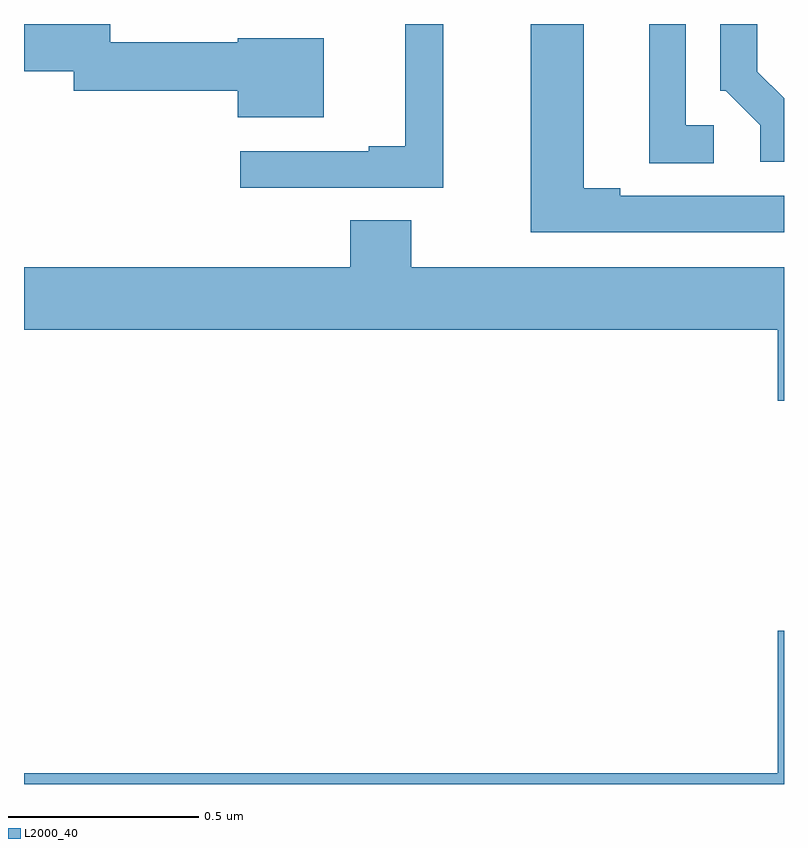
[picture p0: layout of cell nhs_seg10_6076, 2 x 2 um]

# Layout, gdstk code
import gdstk
lib = gdstk.Library(unit=1e-6, precision=1e-09)
def P(c, l, *ps):  # polygons
    for p in ps: c.add(gdstk.Polygon(p, *l))
L2000_40 = (2000, 40)

nhs_seg10_6076 = lib.new_cell('nhs_seg10_6076')
P(nhs_seg10_6076, L2000_40, [(188.103,1254.5),(188.003,1254.5),(188.003,1254.178),(187.907,1254.178),(187.907,1254.165),(187.569,1254.165),(187.569,1254.069),(188.103,1254.069)],
  [(188.815,1254.234),(188.742,1254.234),(188.742,1254.5),(188.645,1254.5),(188.645,1254.133),(188.815,1254.133)],
  [(189,1254.048),(188.569,1254.048),(188.569,1254.068),(188.473,1254.068),(188.473,1254.5),(188.333,1254.5),(188.333,1253.952),(189,1253.952)],
  [(187.789,1254.463),(187.562,1254.463),(187.562,1254.452),(187.227,1254.452),(187.227,1254.5),(187,1254.5),(187,1254.376),(187.131,1254.376),(187.131,1254.324),(187.562,1254.324),(187.562,1254.254),(187.789,1254.254)],
  [(189,1254.304),(188.929,1254.374),(188.929,1254.5),(188.832,1254.5),(188.832,1254.324),(188.847,1254.324),(188.937,1254.234),(188.937,1254.138),(189,1254.138)],
  [(189,1253.86),(188.019,1253.86),(188.019,1253.984),(187.859,1253.984),(187.859,1253.86),(187,1253.86),(187,1253.696),(188.984,1253.696),(188.984,1253.508),(189,1253.508)],
  [(189,1252.903),(188.984,1252.903),(188.984,1252.528),(187,1252.528),(187,1252.5),(189,1252.5)])

lib.write_gds('nhs_seg10_6076.gds')
